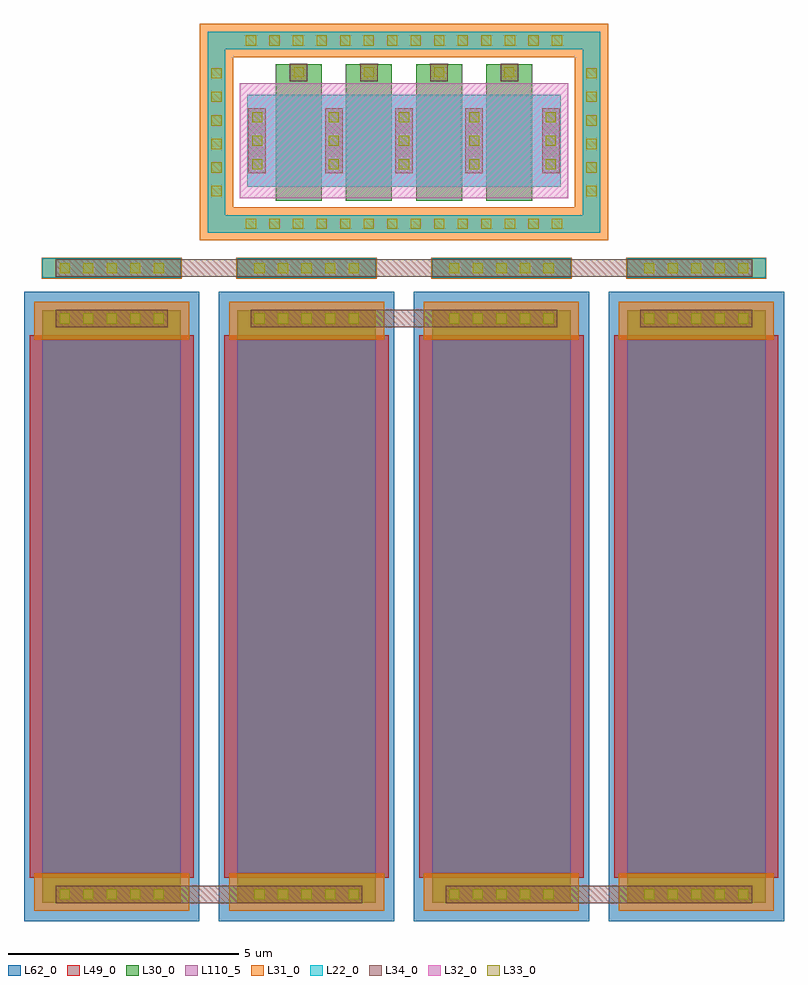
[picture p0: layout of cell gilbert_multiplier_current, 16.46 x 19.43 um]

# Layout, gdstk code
from math import pi, radians
import gdstk
lib = gdstk.Library(unit=1e-6, precision=5e-09)
def R(c, l, rs):  # rectangles x0, y0, x1, y1
    for r in rs: c.add(gdstk.rectangle(r[:2], r[2:], *l))
def A(c, l, x, y, w, h, nx, ny, dx, dy):  # array of equal rectangles
    R(c, l, [(x+i*dx, y+j*dy, x+i*dx+w, y+j*dy+h) for i in range(nx) for j in range(ny)])
def P(c, l, *ps):  # polygons
    for p in ps: c.add(gdstk.Polygon(p, *l))
L22_0 = (22, 0)
L30_0 = (30, 0)
L31_0 = (31, 0)
L32_0 = (32, 0)
L33_0 = (33, 0)
L34_0 = (34, 0)
L49_0 = (49, 0)
L62_0 = (62, 0)
L110_5 = (110, 5)

ppolyf_u_high_rs_resisto = lib.new_cell('ppolyf_u_high_Rs_resistor')
R(ppolyf_u_high_rs_resisto, L22_0, [(-1.76,0,-1.34,3)])
R(ppolyf_u_high_rs_resisto, L30_0, [(-0.64,0,12.19,3)])
R(ppolyf_u_high_rs_resisto, L31_0, [(-0.82,-0.18,0,3.18), (11.55,-0.18,12.37,3.18), (-1.78,-0.02,-1.32,3.02)])
A(ppolyf_u_high_rs_resisto, L33_0, -1.66, 0.37, 0.22, 0.22, 1, 5, 0, 0.51)
A(ppolyf_u_high_rs_resisto, L33_0, -0.57, 0.37, 0.22, 0.22, 1, 5, 0, 0.51)
A(ppolyf_u_high_rs_resisto, L33_0, 11.9, 0.37, 0.22, 0.22, 1, 5, 0, 0.51)
R(ppolyf_u_high_rs_resisto, L34_0, [(-1.74,0.29,-1.36,2.71), (-0.65,0.29,-0.27,2.71), (11.82,0.29,12.2,2.71)])
R(ppolyf_u_high_rs_resisto, L49_0, [(-0.1,-0.28,11.65,3.28)])
R(ppolyf_u_high_rs_resisto, L62_0, [(-1.04,-0.4,12.59,3.4)])
R(ppolyf_u_high_rs_resisto, L110_5, [(0,0,11.55,3)])

gallbladder = lib.new_cell('gallbladder')
R(gallbladder, L22_0, [(-3.39,-1.185,-2.97,0.815), (-2.97,-1.185,2.97,0.815), (2.97,-1.185,3.39,0.815)])
P(gallbladder, L22_0, [(-4.25,-2.175),(-4.25,1.795),(-3.87,1.795),(-3.87,-1.795),(3.87,-1.795),(3.87,1.795),(-4.25,1.795),(-4.25,2.175),(4.25,2.175),(4.25,-2.175)])
A(gallbladder, L30_0, -2.78, -1.485, 1, 2.6, 4, 1, 1.52, 0)
A(gallbladder, L30_0, -2.78, 1.115, 1, 0.36, 4, 1, 1.52, 0)
P(gallbladder, L31_0, [(-4.42,-2.345),(-4.42,1.625),(-3.7,1.625),(-3.7,-1.625),(3.7,-1.625),(3.7,1.625),(-4.42,1.625),(-4.42,2.345),(4.42,2.345),(4.42,-2.345)])
R(gallbladder, L32_0, [(-3.56,-1.425,3.56,1.055)])
A(gallbladder, L33_0, -3.425, -2.095, 0.22, 0.22, 14, 2, 0.51, 3.97)
A(gallbladder, L33_0, -4.17, -1.385, 0.22, 0.22, 1, 6, 0, 0.51)
A(gallbladder, L33_0, 3.95, -1.385, 0.22, 0.22, 1, 6, 0, 0.51)
A(gallbladder, L33_0, -3.29, -0.805, 0.22, 0.22, 1, 3, 0, 0.51)
A(gallbladder, L33_0, -1.63, -0.805, 0.22, 0.22, 3, 3, 1.52, 0.51)
A(gallbladder, L33_0, 3.07, -0.805, 0.22, 0.22, 1, 3, 0, 0.51)
A(gallbladder, L33_0, -2.39, 1.185, 0.22, 0.22, 4, 1, 1.52, 0)
A(gallbladder, L34_0, -1.71, -0.885, 0.38, 1.4, 3, 1, 1.52, 0)
A(gallbladder, L34_0, -2.47, 1.105, 0.38, 0.38, 4, 1, 1.52, 0)
R(gallbladder, L34_0, [(-3.37,-0.885,-2.99,0.515), (2.99,-0.885,3.37,0.515)])

gilbert_multiplier_curre = lib.new_cell('gilbert_multiplier_current')
R(gilbert_multiplier_curre, L34_0, [(5.5,2.04,12.14,2.42), (13.94,2.04,20.58,2.42), (9.72,14.51,16.36,14.89), (5.5,15.6,20.58,15.98)])
gilbert_multiplier_curre.add(gdstk.Reference(ppolyf_u_high_rs_resisto, (9.43,14.24), rotation=3*pi/2))
gilbert_multiplier_curre.add(gdstk.Reference(ppolyf_u_high_rs_resisto, (13.65,14.24), rotation=3*pi/2))
gilbert_multiplier_curre.add(gdstk.Reference(ppolyf_u_high_rs_resisto, (17.87,14.24), rotation=3*pi/2))
gilbert_multiplier_curre.add(gdstk.Reference(ppolyf_u_high_rs_resisto, (5.21,14.24), rotation=3*pi/2))
gilbert_multiplier_curre.add(gdstk.Reference(gallbladder, (13.04,18.735)))
gilbert_multiplier_curre.add(gdstk.Label('I_o_p', (24.65,32.7), layer=34, texttype=10))
gilbert_multiplier_curre.add(gdstk.Label('I_o_n', (24.65,33.725), layer=34, texttype=10))
gilbert_multiplier_curre.add(gdstk.Label('V_w_n', (24.85,30.92), layer=34, texttype=10))
gilbert_multiplier_curre.add(gdstk.Label('V_tail', (26.11,19.6), layer=34, texttype=10))
gilbert_multiplier_curre.add(gdstk.Label('VSS', (1.39,15.77), layer=34, texttype=10))
gilbert_multiplier_curre.add(gdstk.Label('V_x_p', (1.655,24.585), layer=34, texttype=10))
gilbert_multiplier_curre.add(gdstk.Label('V_x_n', (24.66,24.585), layer=34, texttype=10))
gilbert_multiplier_curre.add(gdstk.Label('V_w_p', (1.655,29.15), layer=34, texttype=10))

lib.write_gds('gilbert_multiplier_current.gds')
